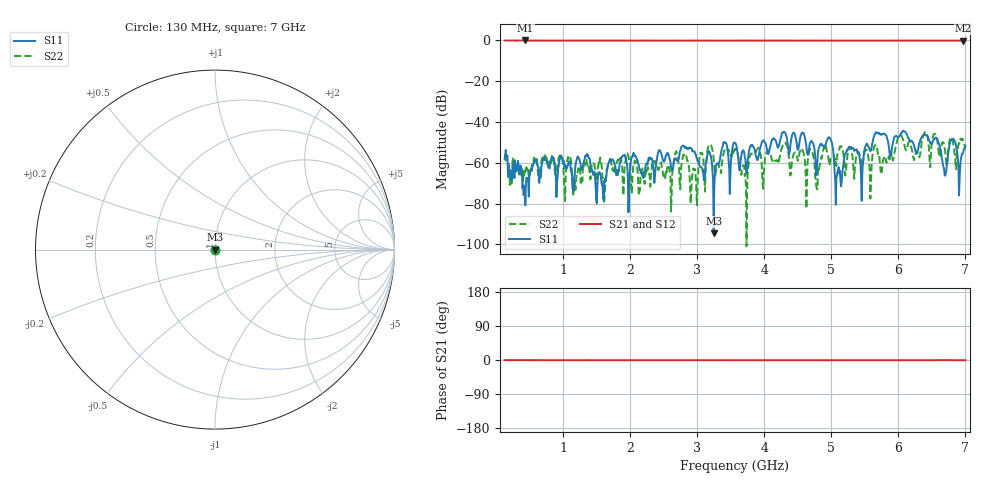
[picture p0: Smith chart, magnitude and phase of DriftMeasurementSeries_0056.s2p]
# Hz S RI R 50.000000
! Metas.Vna.Tools, 2.8.8664.20301
! Metas.Vna.Data, 2.8.8664.20285
! Created: UTC 2024.02.11 10:08:27
! FREQ  re:S1,1  im:S1,1  re:S2,1  im:S2,1  re:S1,2  im:S1,2  re:S2,2  im:S2,2
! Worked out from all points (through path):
!   801 points, 130 MHz to 7 GHz, reference 50 ohm
!   highest |S21| = -0.02 dB at 439.1 MHz (marker M1); lowest = -0.1 dB at 6.966 GHz (marker M2)
!   lowest |S11| = -94.5 dB at 3.247 GHz (marker M3), VSWR 1.00, Z = 50 + j0.000659 ohm
!   |S11| at or under -10 dB: start of sweep to end of sweep
!   |S22| runs from -100.9 to -44.8 dB; largest |S21 - S12| = 0.016
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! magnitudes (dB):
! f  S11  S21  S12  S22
! 130 MHz  -58.0  0.0  0.0  -56.4
! 439.1 MHz  -80.9  0.0  0.0  -64.5
! 585.1 MHz  -58.9  -0.1  0.0  -57.8
! 1.281 GHz  -62.8  -0.1  0.0  -67.6
! 1.607 GHz  -78.4  -0.1  0.0  -77.1
! 1.71 GHz  -58.6  -0.1  0.0  -59.6
! 2.423 GHz  -54.7  -0.1  0.0  -63.6
! 3.179 GHz  -54.3  -0.1  0.0  -51.1
! 3.247 GHz  -94.5  -0.1  0.0  -58.1
! 3.565 GHz  -50.3  -0.1  0.0  -53.1
! 3.728 GHz  -62.2  -0.1  0.0  -71.6
! 3.891 GHz  -58.3  -0.1  0.0  -53.7
! 4.716 GHz  -49.6  -0.1  0.0  -54.6
! 4.793 GHz  -59.7  -0.1  0.0  -72.9
! 4.982 GHz  -48.0  -0.1  0.0  -59.5
! 5.085 GHz  -66.3  -0.1  0.0  -58.3
! 5.265 GHz  -52.1  -0.1  0.0  -53.3
! 5.446 GHz  -68.7  -0.1  0.0  -59.1
! 5.669 GHz  -45.0  -0.1  0.0  -51.2
! 5.858 GHz  -51.9  -0.1  0.0  -56.8
! 6.966 GHz  -54.9  -0.1  0.0  -49.3
! 7 GHz  -51.9  -0.1  0.0  -52.1
